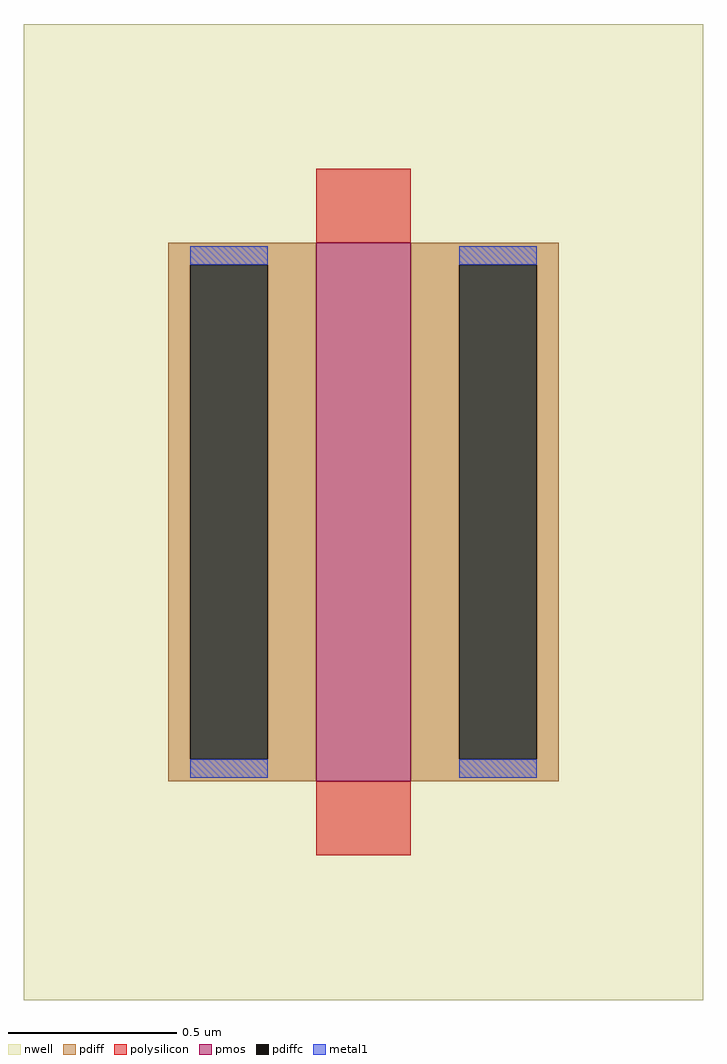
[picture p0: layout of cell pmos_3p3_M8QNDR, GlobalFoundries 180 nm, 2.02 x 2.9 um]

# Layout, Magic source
magic
tech gf180mcuC
magscale 1 10
<< nwell >>
rect -202 -290 202 290
<< pmos >>
rect -28 -160 28 160
<< pdiff >>
rect -116 147 -28 160
rect -116 -147 -103 147
rect -57 -147 -28 147
rect -116 -160 -28 -147
rect 28 147 116 160
rect 28 -147 57 147
rect 103 -147 116 147
rect 28 -160 116 -147
<< pdiffc >>
rect -103 -147 -57 147
rect 57 -147 103 147
<< polysilicon >>
rect -28 160 28 204
rect -28 -204 28 -160
<< metal1 >>
rect -103 147 -57 158
rect -103 -158 -57 -147
rect 57 147 103 158
rect 57 -158 103 -147
<< properties >>
string gencell pmos_3p3
string library gf180mcu
string parameters w 1.60 l 0.280 m 1 nf 1 diffcov 100 polycov 100 guard 0 glc 0 grc 0 gtc 0 gbc 0 tbcov 100 rlcov 100 topc 0 botc 0 poverlap 0 doverlap 1 lmin 0.28 wmin 0.22 full_metal 0 compatible {pmos_3p3 pmos_6p0}
<< end >>
